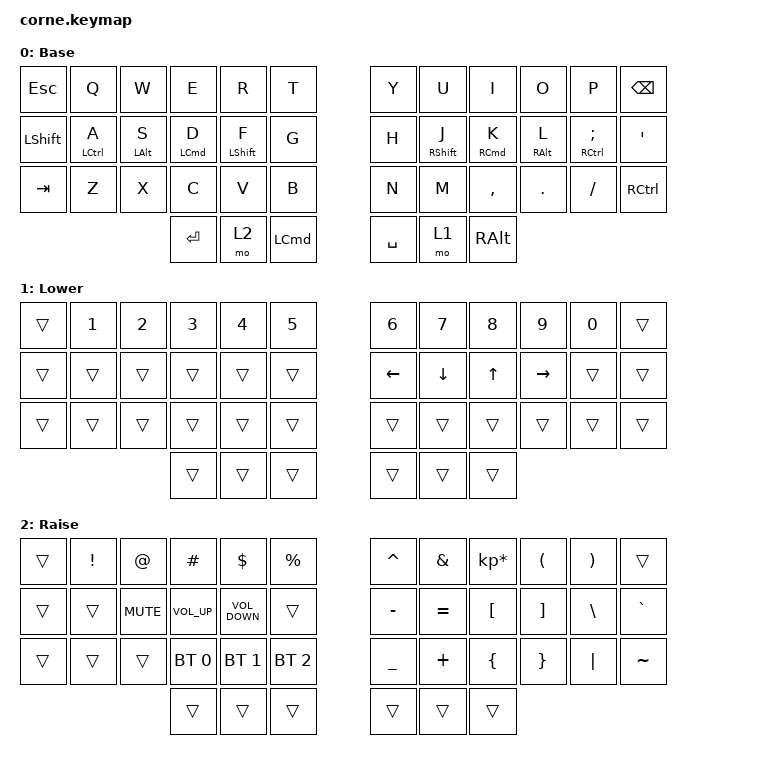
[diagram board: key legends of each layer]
/*
 * Copyright (c) 2020 The ZMK Contributors
 *
 * SPDX-License-Identifier: MIT
 */

#include <behaviors.dtsi>
#include <dt-bindings/zmk/bt.h>
#include <dt-bindings/zmk/keys.h>

/ {
    behaviors {
        hm: hm {
            compatible = "zmk,behavior-hold-tap";
            label = "HM";
            bindings = <&kp>, <&kp>;

            #binding-cells = <2>;
            tapping-term-ms = <200>;
            quick-tap-ms = <200>;
            require-prior-idle-ms = <200>;
            flavor = "tap-preferred";
        };
    };

    keymap {
        compatible = "zmk,keymap";

        default_layer {
            // -----------------------------------------------------------------------------------------
            // |  TAB |  Q  |  W  |  E  |  R  |  T  |   |  Y  |  U   |  I  |  O  |  P  | BKSP |
            // | CTRL |  A  |  S  |  D  |  F  |  G  |   |  H  |  J   |  K  |  L  |  ;  |  '   |
            // | SHFT |  Z  |  X  |  C  |  V  |  B  |   |  N  |  M   |  ,  |  .  |  /  | ESC  |
            //                    | GUI | LWR | SPC |   | ENT | RSE  | ALT |

            display-name = "Base";
            bindings = <
&kp ESCAPE      &kp Q               &kp W           &kp E               &kp R             &kp T               &kp Y      &kp U              &kp I                &kp O            &kp P           &kp BSPC
&kp LEFT_SHIFT  &hm LEFT_CONTROL A  &hm LEFT_ALT S  &hm LEFT_COMMAND D  &hm LEFT_SHIFT F  &kp G               &kp H      &hm RIGHT_SHIFT J  &hm RIGHT_COMMAND K  &hm RIGHT_ALT L  &hm RCTRL SEMI  &kp SQT
&kp TAB         &kp Z               &kp X           &kp C               &kp V             &kp B               &kp N      &kp M              &kp COMMA            &kp DOT          &kp FSLH        &kp RIGHT_CONTROL
                                                    &kp ENTER           &mo 2             &kp LEFT_COMMAND    &kp SPACE  &mo 1              &kp RALT
            >;
        };

        lower_layer {
            // -----------------------------------------------------------------------------------------
            // |  TAB |  1  |  2  |  3  |  4  |  5  |   |  6  |  7  |  8  |  9  |  0  | BKSP |
            // | BTCLR| BT1 | BT2 | BT3 | BT4 | BT5 |   | LFT | DWN |  UP | RGT |     |      |
            // | SHFT |     |     |     |     |     |   |     |     |     |     |     |      |
            //                    | GUI |     | SPC |   | ENT |     | ALT |

            display-name = "Lower";
            bindings = <
&trans  &kp N1  &kp N2  &kp N3  &kp N4  &kp N5    &kp N6    &kp N7    &kp N8  &kp N9     &kp N0  &trans
&trans  &trans  &trans  &trans  &trans  &trans    &kp LEFT  &kp DOWN  &kp UP  &kp RIGHT  &trans  &trans
&trans  &trans  &trans  &trans  &trans  &trans    &trans    &trans    &trans  &trans     &trans  &trans
                        &trans  &trans  &trans    &trans    &trans    &trans
            >;
        };

        raise_layer {
            // -----------------------------------------------------------------------------------------
            // |  TAB |  !  |  @  |  #  |  $  |  %  |   |  ^  |  &  |  *  |  (  |  )  | BKSP |
            // | CTRL |     |     |     |     |     |   |  -  |  =  |  [  |  ]  |  \  |  `   |
            // | SHFT |     |     |     |     |     |   |  _  |  +  |  {  |  }  | "|" |  ~   |
            //                    | GUI |     | SPC |   | ENT |     | ALT |

            display-name = "Raise";
            bindings = <
&trans  &kp EXCL  &kp AT      &kp HASH         &kp DLLR           &kp PRCNT       &kp CARET  &kp AMPS   &kp KP_MULTIPLY  &kp LPAR  &kp RPAR  &trans
&trans  &trans    &kp K_MUTE  &kp K_VOLUME_UP  &kp K_VOLUME_DOWN  &trans          &kp MINUS  &kp EQUAL  &kp LBKT         &kp RBKT  &kp BSLH  &kp GRAVE
&trans  &trans    &trans      &bt BT_SEL 0     &bt BT_SEL 1       &bt BT_SEL 2    &kp UNDER  &kp PLUS   &kp LBRC         &kp RBRC  &kp PIPE  &kp TILDE
                              &trans           &trans             &trans          &trans     &trans     &trans
            >;
        };

        extra_1 { status = "reserved"; };

        extra_2 { status = "reserved"; };

        extra_3 { status = "reserved"; };
    };
};
